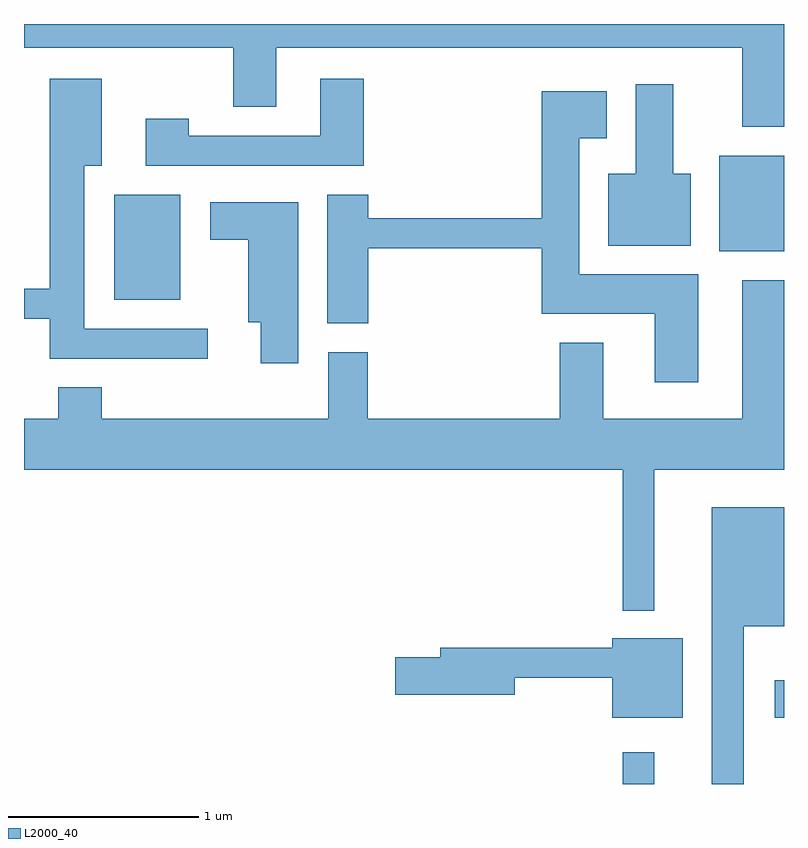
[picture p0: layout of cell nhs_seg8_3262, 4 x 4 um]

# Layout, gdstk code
import gdstk
lib = gdstk.Library(unit=1e-6, precision=1e-09)
def R(c, l, rs):  # rectangles x0, y0, x1, y1
    for r in rs: c.add(gdstk.rectangle(r[:2], r[2:], *l))
def P(c, l, *ps):  # polygons
    for p in ps: c.add(gdstk.Polygon(p, *l))
L2000_40 = (2000, 40)

nhs_seg8_3262 = lib.new_cell('nhs_seg8_3262')
R(nhs_seg8_3262, L2000_40, [(286.761,1810.342,286.929,1810.508), (287.561,1810.691,287.611,1810.889), (284.086,1812.891,284.434,1813.444), (287.271,1813.146,287.611,1813.649)])
P(nhs_seg8_3262, L2000_40, [(287.611,1814.342),(283.611,1814.342),(283.611,1814.216),(284.711,1814.216),(284.711,1813.906),(284.939,1813.906),(284.939,1814.216),(287.391,1814.216),(287.391,1813.801),(287.611,1813.801)],
  [(285.399,1814.054),(285.171,1814.054),(285.171,1813.754),(284.479,1813.754),(284.479,1813.844),(284.251,1813.844),(284.251,1813.596),(285.399,1813.596)],
  [(284.578,1812.739),(283.929,1812.739),(283.929,1813.596),(284.019,1813.596),(284.019,1814.054),(283.746,1814.054),(283.746,1812.949),(283.611,1812.949),(283.611,1812.791),(283.746,1812.791),(283.746,1812.581),(284.578,1812.581)],
  [(287.119,1813.554),(287.029,1813.554),(287.029,1814.024),(286.831,1814.024),(286.831,1813.554),(286.686,1813.554),(286.686,1813.176),(287.119,1813.176)],
  [(287.159,1813.024),(286.534,1813.024),(286.534,1813.741),(286.679,1813.741),(286.679,1813.989),(286.336,1813.989),(286.336,1813.319),(285.424,1813.319),(285.424,1813.444),(285.206,1813.444),(285.206,1812.766),(285.424,1812.766),(285.424,1813.161),(286.336,1813.161),(286.336,1812.816),(286.931,1812.816),(286.931,1812.456),(287.159,1812.456)],
  [(285.054,1813.404),(284.591,1813.404),(284.591,1813.206),(284.791,1813.206),(284.791,1812.771),(284.856,1812.771),(284.856,1812.556),(285.054,1812.556)],
  [(286.929,1811.996),(287.611,1811.996),(287.611,1812.994),(287.391,1812.994),(287.391,1812.264),(286.659,1812.264),(286.659,1812.664),(286.431,1812.664),(286.431,1812.264),(285.419,1812.264),(285.419,1812.614),(285.211,1812.614),(285.211,1812.264),(284.019,1812.264),(284.019,1812.429),(283.791,1812.429),(283.791,1812.264),(283.611,1812.264),(283.611,1811.996),(286.761,1811.996),(286.761,1811.253),(286.929,1811.253)],
  [(287.399,1811.171),(287.611,1811.171),(287.611,1811.799),(287.231,1811.799),(287.231,1810.342),(287.399,1810.342)],
  [(287.079,1811.109),(286.706,1811.109),(286.706,1811.059),(285.801,1811.059),(285.801,1811.009),(285.566,1811.009),(285.566,1810.811),(286.194,1810.811),(286.194,1810.901),(286.706,1810.901),(286.706,1810.691),(287.079,1810.691)])

lib.write_gds('nhs_seg8_3262.gds')
